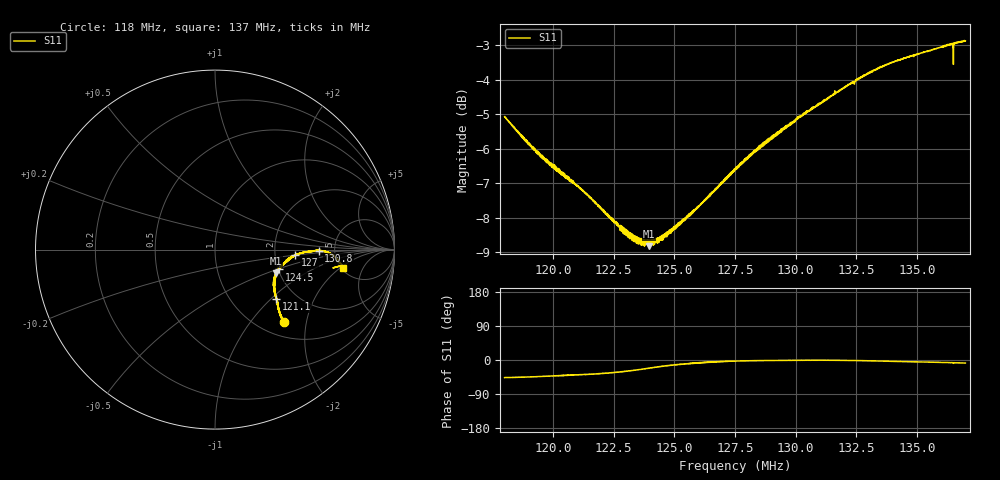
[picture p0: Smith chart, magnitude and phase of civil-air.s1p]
! Calibrated averaged scanner-service zoom
# Hz S RI R 50
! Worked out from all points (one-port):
!   2001 points, 118 MHz to 137 MHz, reference 50 ohm
!   lowest |S11| = -8.8 dB at 123.9 MHz (marker M1), VSWR 2.14, Z = 95.1 - j29 ohm
!   |S11| at or under -10 dB: nowhere
!   S11 on the Smith chart (normalised r, x): 118 MHz: 1.27, -1.49; 121.1 MHz: 1.59, -1.08; 124.5 MHz: 2.02, -0.52; 127 MHz: 2.62, -0.19; 130.8 MHz: 3.72, -0.08; 137 MHz: 5.19, -2.15
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1.18e8  0.3843 -0.4048
1.190355e8  0.3625 -0.3582
1.19748e8  0.352 -0.324
1.20375e8  0.3492 -0.3056
1.211065e8  0.3419 -0.2755
1.21895e8  0.3332 -0.2451
1.2275e8  0.3289 -0.202
1.23434e8  0.3277 -0.163
1.23947e8  0.3373 -0.1323
1.244505e8  0.3571 -0.1108
1.25125e8  0.3797 -0.0808
1.260465e8  0.4127 -0.0464
1.26968e8  0.4485 -0.0288
1.275e8  0.4673 -0.0231
1.285735e8  0.5079 -0.0134
1.29875e8  0.5467 -0.00703
1.300935e8  0.5543 -0.00676
1.30825e8  0.5767 -0.00682
1.31585e8  0.6027 -0.00832
1.3225e8  0.6225 -0.0132
1.33428e8  0.6551 -0.0299
1.34625e8  0.679 -0.0533
1.360215e8  0.7001 -0.0782
1.363825e8  0.7057 -0.0859
1.36411e8  0.7048 -0.0855
1.36582e8  0.7085 -0.0903
1.366105e8  0.7074 -0.0899
1.37e8  0.7116 -0.1003
